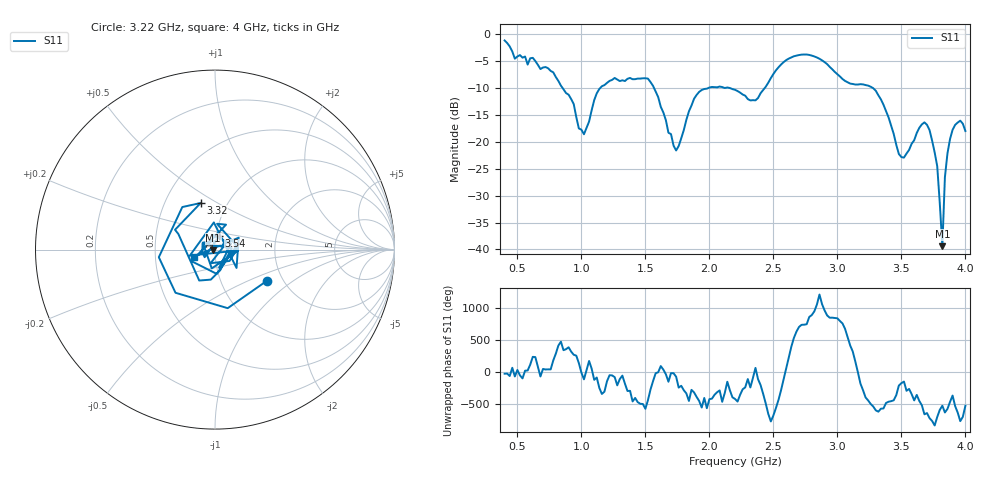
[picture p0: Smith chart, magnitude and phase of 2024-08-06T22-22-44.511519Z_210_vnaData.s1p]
!Created with skrf (http://scikit-rf.org).
# Hz S RI R 50.0
!freq ReS11 ImS11
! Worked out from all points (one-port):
!   181 points, 400 MHz to 4 GHz, reference 50 ohm
!   lowest |S11| = -39.4 dB at 3.82 GHz (marker M1), VSWR 1.02, Z = 49 - j0.356 ohm
!   |S11| at or under -10 dB: 853.8 MHz to 1.146 GHz (292.2 MHz wide, 29.2 % of centre); 1.568 GHz to 1.989 GHz (421.1 MHz wide, 23.7 % of centre); 3.279 GHz to end of sweep (the widest 3 of 4)
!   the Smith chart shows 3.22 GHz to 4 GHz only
!   S11 on the Smith chart (normalised r, x): 3.22 GHz: 1.66, -0.65; 3.32 GHz: 0.75, +0.42; 3.54 GHz: 1.04, +0.16; 4 GHz: 0.78, -0.06
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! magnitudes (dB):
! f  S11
! 400 MHz  -1.1
! 480 MHz  -4.5
! 860 MHz  -10.2
! 1.02 GHz  -18.6
! 1.14 GHz  -10.2
! 1.3 GHz  -8.7
! 1.52 GHz  -8.2
! 1.72 GHz  -20.7
! 1.76 GHz  -20.8
! 1.92 GHz  -10.7
! 2.2 GHz  -10.3
! 2.36 GHz  -12.3
! 2.66 GHz  -4.1
! 2.84 GHz  -4.3
! 3.1 GHz  -9.2
! 3.22 GHz  -9.4
! 3.32 GHz  -11.3
! 3.48 GHz  -22.2
! 3.54 GHz  -22.2
! 3.56 GHz  -21.5
! 3.66 GHz  -16.7
! 3.72 GHz  -17.8
! 3.78 GHz  -24.5
! 3.82 GHz  -39.4
! 3.84 GHz  -26.6
! 3.88 GHz  -19.5
! 3.96 GHz  -16.0
! 4 GHz  -18.0
